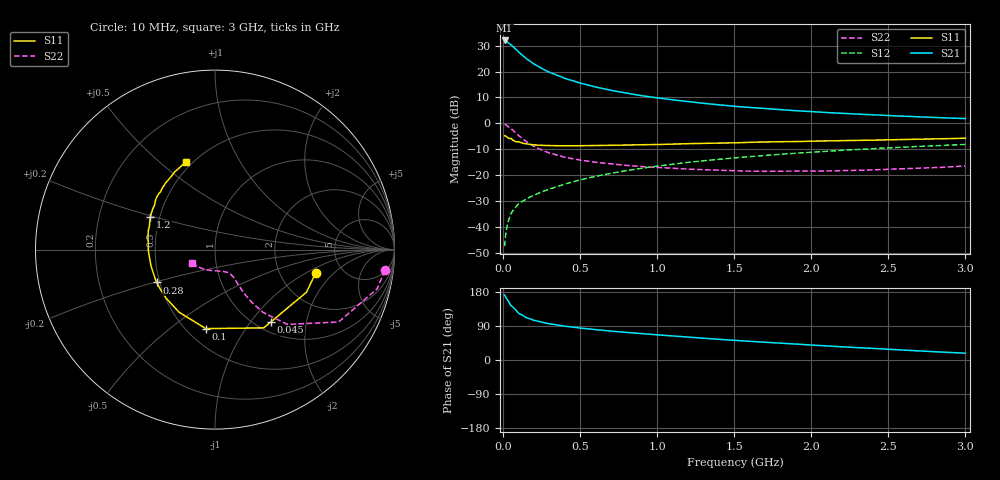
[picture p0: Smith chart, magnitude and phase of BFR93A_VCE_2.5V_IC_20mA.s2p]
! Infineon Technologies  Discrete & RF Semiconductors
! BFR93A
! VCE =  2.5 V,  IC =  20 mA
! Common Emitter S-Parameters:  Nov 2015
# GHz  S  MA  R  50
!  f  S11  S21  S12  S22
! GHz  MAG  ANG  MAG  ANG  MAG  ANG  MAG  ANG
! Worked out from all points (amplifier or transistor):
!   180 points, 10 MHz to 3 GHz, reference 50 ohm
!   highest |S21| = 32.1 dB at 10 MHz (marker M1)
!   |S21| within 3 dB of that: start of sweep to 74.63 MHz
!   unconditionally stable (mu >= 1): 396.5 MHz to 2.99 GHz
!   at 160 MHz: K = 0.71, MSG = 26.8 dB, |S12| = -29.0 dB
!   at 1.22 GHz: K = 1.08, MAG = 9.9 dB, |S12| = -15.0 dB
!   at 3 GHz: K = 1.00, MSG = 5.0 dB, |S12| = -8.2 dB
!   S11 on the Smith chart (normalised r, x): 10 MHz: 3.21, -1.23; 45 MHz: 1.16, -1.27; 100 MHz: 0.62, -0.68; 280 MHz: 0.48, -0.21; 1.2 GHz: 0.44, +0.19; 3 GHz: 0.46, +0.61
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0.01  0.5763 -12.8  40.06 171.6  0.0042 83.4  0.9533 -7.0
0.02  0.5625 -24.9  38.95 163.9  0.0083 78.5  0.9293 -13.6
0.045  0.509 -52.3  34.04 147.8  0.0161 69.5  0.8149 -27.2
0.05  0.5136 -58.1  33.43 144.1  0.0177 68.7  0.7984 -30.3
0.1  0.4432 -96.6  24.05 123.5  0.0277 60.9  0.5811 -45.9
0.15  0.4023 -119.8  17.88 111.8  0.0343 60.2  0.442 -52.5
0.2  0.3841 -135.2  14.05 104.6  0.0407 61.2  0.3584 -55.1
0.24  0.3763 -143.8  12.01 100.5  0.0457 62.4  0.3147 -56.0
0.26  0.3742 -147.5  11.15 98.6  0.0482 63.0  0.2965 -56.3
0.28  0.372 -150.5  10.43 97.1  0.0507 63.6  0.2818 -56.4
0.3  0.3709 -153.6  9.727 95.4  0.0532 64.1  0.2671 -56.4
0.4  0.368 -165.5  7.405 89.2  0.0666 66.0  0.2203 -56.3
0.52  0.3692 -176.0  5.806 83.5  0.083 66.9  0.1909 -56.2
0.6  0.3724 178.8  5.038 80.1  0.094 67.1  0.176 -56.4
0.7  0.3748 173.5  4.345 76.2  0.1078 66.8  0.1639 -57.3
0.82  0.3815 167.9  3.743 72.1  0.1242 66.3  0.1518 -59.2
1.02  0.3896 159.5  3.045 65.8  0.1513 64.6  0.1391 -63.7
1.2  0.4042 153.2  2.628 60.4  0.1755 62.8  0.1297 -69.9
1.52  0.4206 143.0  2.109 51.4  0.2167 59.1  0.1202 -82.2
2.02  0.4526 130.3  1.668 39.1  0.2786 53.0  0.1193 -104.4
2.52  0.4808 119.2  1.405 28.0  0.3372 46.3  0.129 -127.1
3  0.5147 108.6  1.235 18.0  0.3902 39.7  0.1497 -150.3
